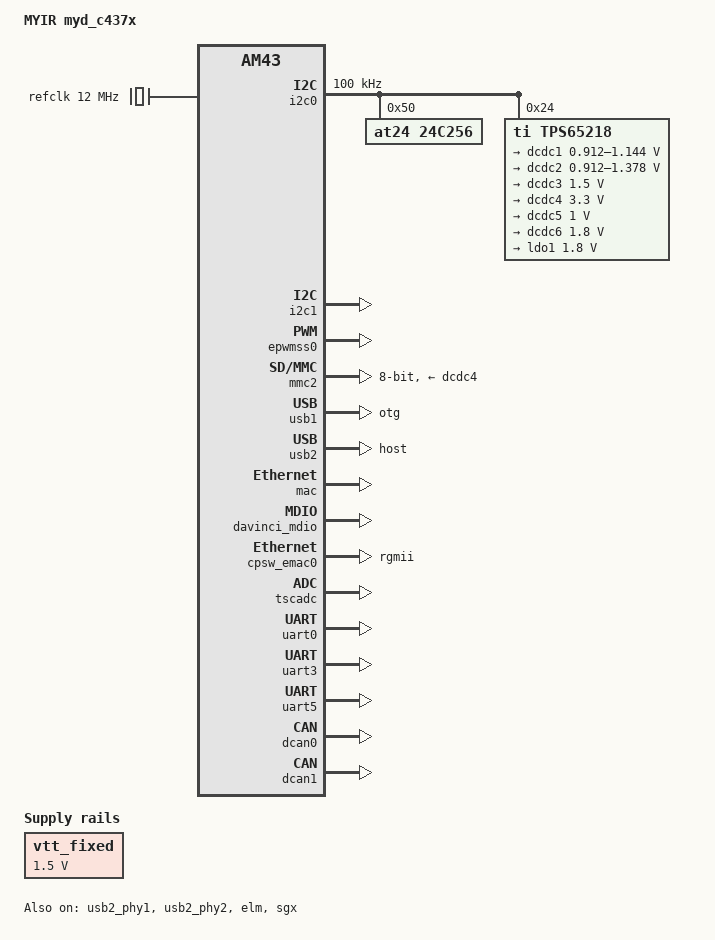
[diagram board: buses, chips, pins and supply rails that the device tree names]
/*
* Copyright (C) 2015 MYIR Tech Limited. - http://www.myirtech.com
*
* This program is free software; you can redistribute it and/or modify
* it under the terms of the GNU General Public License version 2 as
* published by the Free Software Foundation.
*/

/* MYIR myd_c437x */

/dts-v1/;

#include "am4372.dtsi"
#include <dt-bindings/pinctrl/am43xx.h>
/*#include <dt-bindings/pwm/pwm.h> */
#include <dt-bindings/gpio/gpio.h>
#include <dt-bindings/input/input.h>

/ {
	model = "MYIR myd_c437x";
	compatible = "myir,myd_c437x","ti,am4372","ti,am43";

	vtt_fixed: fixedregulator-vtt {
		compatible = "regulator-fixed";
		regulator-name = "vtt_fixed";
		regulator-min-microvolt = <1500000>;
		regulator-max-microvolt = <1500000>;
		regulator-always-on;
		regulator-boot-on;
		enable-active-high;
//		gpio = <&gpio5 7 GPIO_ACTIVE_HIGH>;
	};

	/* fixed 12MHz oscillator */
	refclk: oscillator {
		#clock-cells = <0>;
		compatible = "fixed-clock";
		clock-frequency = <12000000>;
	};

};

&am43xx_pinmux {
	pinctrl-names = "default", "sleep";
	pinctrl-0 = <&clkout_pins  &unused_pins_default>;
	pinctrl-1 = <&unused_pins_sleep>;

        clkout_pins: pinmux_clkout_pins {
                pinctrl-single,pins = <
               0x274 (PIN_OUTPUT_PULLUP | MUX_MODE3)    /* xdma_event_intr1.clkout2 */
			/* 0x270 (PIN_OUTPUT_PULLUP | MUX_MODE3) */ /* xdma_event_intr0.clkout1 mode 3*/
                >;
        };

	i2c0_pins_default: i2c0_pins_default {
		pinctrl-single,pins = <
			0x188 (PIN_INPUT | SLEWCTRL_FAST | MUX_MODE0) /* i2c0_sda.i2c0_sda */
			0x18c (PIN_INPUT | SLEWCTRL_FAST | MUX_MODE0) /* i2c0_scl.i2c0_scl */
		>;
	};

	i2c0_pins_sleep: i2c0_pins_sleep {
		pinctrl-single,pins = <
			0x188 (PIN_INPUT_PULLDOWN | MUX_MODE7)
			0x18c (PIN_INPUT_PULLDOWN | MUX_MODE7)
		>;
	};

	i2c1_pins_default: i2c1_pins_default {
		pinctrl-single,pins = <
			0x240 ( PIN_INPUT_PULLUP | SLEWCTRL_FAST | MUX_MODE1 ) /* (G20) gpio5_10.I2C1_SCL */
			0x248 ( PIN_INPUT_PULLUP | SLEWCTRL_FAST | MUX_MODE1 ) /* (E25) gpio5_12.I2C1_SDA */
		>;
	};

	i2c1_pins_sleep: i2c1_pins_sleep {
		pinctrl-single,pins = <
			0x240 (PIN_INPUT_PULLUP | MUX_MODE7)
			0x248 (PIN_INPUT_PULLUP | MUX_MODE7)
		>;
	};

	emmc_pins_default: emmc_pins_default {
		pinctrl-single,pins = <
			0x80 ( PIN_INPUT_PULLUP | MUX_MODE2 ) /* (B9) gpmc_csn1.mmc1_clk */
			0x84 ( PIN_INPUT_PULLUP | MUX_MODE2 ) /* (F10) gpmc_csn2.mmc1_cmd */
			0x20 ( PIN_INPUT_PULLUP | MUX_MODE2 ) /* (B10) gpmc_ad8.mmc1_dat0 */
			0x24 ( PIN_INPUT_PULLUP | MUX_MODE2 ) /* (A10) gpmc_ad9.mmc1_dat1 */
			0x28 ( PIN_INPUT_PULLUP | MUX_MODE2 ) /* (F11) gpmc_ad10.mmc1_dat2 */
			0x2c ( PIN_INPUT_PULLUP | MUX_MODE2 ) /* (D11) gpmc_ad11.mmc1_dat3 */
			0x30 ( PIN_INPUT_PULLUP | MUX_MODE2 ) /* (E11) gpmc_ad12.mmc1_dat4 */
			0x34 ( PIN_INPUT_PULLUP | MUX_MODE2 ) /* (C11) gpmc_ad13.mmc1_dat5 */
			0x38 ( PIN_INPUT_PULLUP | MUX_MODE2 ) /* (B11) gpmc_ad14.mmc1_dat6 */
			0x3c ( PIN_INPUT_PULLUP | MUX_MODE2 ) /* (A11) gpmc_ad15.mmc1_dat7 */
		>;
	};

	emmc_pins_sleep: emmc_pins_sleep {
		pinctrl-single,pins = <
			0x80 (PIN_INPUT_PULLDOWN | MUX_MODE7) /* (B9) gpmc_csn1.mmc1_clk */
			0x84 (PIN_INPUT_PULLDOWN | MUX_MODE7) /* (F10) gpmc_csn2.mmc1_cmd */
			0x20 (PIN_INPUT_PULLDOWN | MUX_MODE7) /* (B10) gpmc_ad8.mmc1_dat0 */
			0x24 (PIN_INPUT_PULLDOWN | MUX_MODE7) /* (A10) gpmc_ad9.mmc1_dat1 */
			0x28 (PIN_INPUT_PULLDOWN | MUX_MODE7) /* (F11) gpmc_ad10.mmc1_dat2 */
			0x2c (PIN_INPUT_PULLDOWN | MUX_MODE7) /* (D11) gpmc_ad11.mmc1_dat3 */
			0x30 (PIN_INPUT_PULLDOWN | MUX_MODE7) /* (E11) gpmc_ad12.mmc1_dat4 */
			0x34 (PIN_INPUT_PULLDOWN | MUX_MODE7) /* (C11) gpmc_ad13.mmc1_dat5 */
			0x38 (PIN_INPUT_PULLDOWN | MUX_MODE7) /* (B11) gpmc_ad14.mmc1_dat6 */
			0x3c (PIN_INPUT_PULLDOWN | MUX_MODE7) /* (A11) gpmc_ad15.mmc1_dat7 */
		>;
	};

	cpsw_default: cpsw_default {
		pinctrl-single,pins = <
			/* Slave 1 */
			0x114 (PIN_OUTPUT_PULLDOWN | MUX_MODE2)	/* mii1_txen.rgmii1_txen */
			0x118 (PIN_INPUT_PULLDOWN | MUX_MODE2)	/* mii1_rxdv.rgmii1_rxctl */
			0x11c (PIN_OUTPUT_PULLDOWN | MUX_MODE2)	/* mii1_txd1.rgmii1_txd3 */
			0x120 (PIN_OUTPUT_PULLDOWN | MUX_MODE2)	/* mii1_txd0.rgmii1_txd2 */
			0x124 (PIN_OUTPUT_PULLDOWN | MUX_MODE2)	/* mii1_txd1.rgmii1_txd1 */
			0x128 (PIN_OUTPUT_PULLDOWN | MUX_MODE2)	/* mii1_txd0.rgmii1_txd0 */
			0x12c (PIN_OUTPUT_PULLDOWN | MUX_MODE2)	/* mii1_txclk.rmii1_tclk */
			0x130 (PIN_INPUT_PULLDOWN | MUX_MODE2)	/* mii1_rxclk.rmii1_rclk */
			0x134 (PIN_INPUT_PULLDOWN | MUX_MODE2)	/* mii1_rxd1.rgmii1_rxd3 */
			0x138 (PIN_INPUT_PULLDOWN | MUX_MODE2)	/* mii1_rxd0.rgmii1_rxd2 */
			0x13c (PIN_INPUT_PULLDOWN | MUX_MODE2)	/* mii1_rxd1.rgmii1_rxd1 */
			0x140 (PIN_INPUT_PULLDOWN | MUX_MODE2)	/* mii1_rxd0.rgmii1_rxd0 */

			/* Slave 2 */
			0x58 (PIN_OUTPUT_PULLDOWN | MUX_MODE2)	/* gpmc_a6.rgmii2_tclk */
			0x40 (PIN_OUTPUT_PULLDOWN | MUX_MODE2)	/* gpmc_a0.rgmii2_tctl */
			0x54 (PIN_OUTPUT_PULLDOWN | MUX_MODE2)	/* gpmc_a5.rgmii2_td0 */
			0x50 (PIN_OUTPUT_PULLDOWN | MUX_MODE2)	/* gpmc_a4.rgmii2_td1 */
			0x4c (PIN_OUTPUT_PULLDOWN | MUX_MODE2)	/* gpmc_a3.rgmii2_td2 */
			0x48 (PIN_OUTPUT_PULLDOWN | MUX_MODE2)	/* gpmc_a2.rgmii2_td3 */
			0x5c (PIN_INPUT_PULLDOWN | MUX_MODE2)	/* gpmc_a7.rgmii2_rclk */
			0x44 (PIN_INPUT_PULLDOWN | MUX_MODE2)	/* gpmc_a1.rgmii2_rtcl */
			0x6c (PIN_INPUT_PULLDOWN | MUX_MODE2)	/* gpmc_a11.rgmii2_rd0 */
			0x68 (PIN_INPUT_PULLDOWN | MUX_MODE2)	/* gpmc_a10.rgmii2_rd1 */
			0x64 (PIN_INPUT_PULLDOWN | MUX_MODE2)	/* gpmc_a9.rgmii2_rd2 */
			0x60 (PIN_INPUT_PULLDOWN | MUX_MODE2)	/* gpmc_a8.rgmii2_rd3 */
		>;
	};

	cpsw_sleep: cpsw_sleep {
		pinctrl-single,pins = <
			/* Slave 1 reset value */
			0x114 (PIN_INPUT_PULLDOWN | MUX_MODE7)
			0x118 (PIN_INPUT_PULLDOWN | MUX_MODE7)
			0x11c (PIN_INPUT_PULLDOWN | MUX_MODE7)
			0x120 (PIN_INPUT_PULLDOWN | MUX_MODE7)
			0x124 (PIN_INPUT_PULLDOWN | MUX_MODE7)
			0x128 (PIN_INPUT_PULLDOWN | MUX_MODE7)
			0x12c (PIN_INPUT_PULLDOWN | MUX_MODE7)
			0x130 (PIN_INPUT_PULLDOWN | MUX_MODE7)
			0x134 (PIN_INPUT | PULL_DISABLE | MUX_MODE7)
			0x138 (PIN_INPUT | PULL_DISABLE | MUX_MODE7)
			0x13c (PIN_INPUT | PULL_DISABLE | MUX_MODE7)
			0x140 (PIN_INPUT | PULL_DISABLE | MUX_MODE7)

			/* Slave 2 reset value */
			0x58 (PIN_INPUT_PULLDOWN | MUX_MODE7)
			0x40 (PIN_INPUT_PULLDOWN | MUX_MODE7)
			0x54 (PIN_INPUT_PULLDOWN | MUX_MODE7)
			0x50 (PIN_INPUT_PULLDOWN | MUX_MODE7)
			0x4c (PIN_INPUT_PULLDOWN | MUX_MODE7)
			0x48 (PIN_INPUT_PULLDOWN | MUX_MODE7)
			0x5c (PIN_INPUT_PULLDOWN | MUX_MODE7)
			0x44 (PIN_INPUT_PULLDOWN | MUX_MODE7)
			0x6c (PIN_INPUT_PULLDOWN | MUX_MODE7)
			0x68 (PIN_INPUT_PULLDOWN | MUX_MODE7)
			0x64 (PIN_INPUT_PULLDOWN | MUX_MODE7)
			0x60 (PIN_INPUT_PULLDOWN | MUX_MODE7)
		>;
	};

	davinci_mdio_default: davinci_mdio_default {
		pinctrl-single,pins = <
			/* MDIO */
			0x148 (PIN_INPUT_PULLUP | SLEWCTRL_FAST | MUX_MODE0)	/* mdio_data.mdio_data */
			0x14c (PIN_OUTPUT_PULLUP | MUX_MODE0)			/* mdio_clk.mdio_clk */
		>;
	};

	davinci_mdio_sleep: davinci_mdio_sleep {
		pinctrl-single,pins = <
			/* MDIO reset value */
			0x148 (PIN_INPUT | PULL_DISABLE | MUX_MODE7)
			0x14c (PIN_INPUT | PULL_DISABLE | MUX_MODE7)
		>;
	};


	dcan0_default: dcan0_default_pins {
		pinctrl-single,pins = <
			0x178 (PIN_OUTPUT | MUX_MODE2)		/* uart1_ctsn.d_can0_tx */
			0x17c (PIN_INPUT_PULLUP | MUX_MODE2)	/* uart1_rtsn.d_can0_rx */
		>;
	};

	dcan0_sleep: dcan0_sleep_pins {
		pinctrl-single,pins = <
			0x178 (PIN_INPUT_PULLUP | MUX_MODE7)	/* uart1_ctsn.gpio0_12 */
			0x17c (PIN_INPUT_PULLUP | MUX_MODE7)	/* uart1_rtsn.gpio0_13 */
		>;
	};

	dcan1_default: dcan1_default_pins {
		pinctrl-single,pins = <
			0x180 (PIN_OUTPUT | MUX_MODE2)		/* uart1_rxd.d_can1_tx */
			0x184 (PIN_INPUT_PULLUP | MUX_MODE2)	/* uart1_txd.d_can1_rx */
		>;
	};

	dcan1_sleep: dcan1_sleep_pins {
		pinctrl-single,pins = <
			0x180 (PIN_INPUT_PULLUP | MUX_MODE7)	/* uart1_rxd.gpio0_14 */
			0x184 (PIN_INPUT_PULLUP | MUX_MODE7)	/* uart1_txd.gpio0_15 */
		>;
	};

	uart0_pins_default: uart0_pins_default {
		pinctrl-single,pins = <
			0x168 (DS0_PULL_UP_DOWN_EN | INPUT_EN | MUX_MODE0)
			0x16C (DS0_PULL_UP_DOWN_EN | INPUT_EN | MUX_MODE0)
			0x170 (PIN_INPUT_PULLUP | SLEWCTRL_FAST | DS0_PULL_UP_DOWN_EN | MUX_MODE0) /* uart0_rxd.uart0_rxd */
			0x174 (PIN_INPUT | PULL_DISABLE | SLEWCTRL_FAST | DS0_PULL_UP_DOWN_EN | MUX_MODE0) /* uart0_txd.uart0_txd */
		>;
	};
	
	uart0_pins_sleep: uart0_pins_sleep {
		pinctrl-single,pins = <
			0x168 (DS0_PULL_UP_DOWN_EN | INPUT_EN | MUX_MODE7)
			0x16C (DS0_PULL_UP_DOWN_EN | INPUT_EN | MUX_MODE7)
			0x170 (PIN_INPUT_PULLUP | SLEWCTRL_FAST | DS0_PULL_UP_DOWN_EN | MUX_MODE0) /* uart0_rxd.uart0_rxd */
			0x174 (PIN_INPUT_PULLDOWN | SLEWCTRL_FAST | DS0_PULL_UP_DOWN_EN | MUX_MODE0) /* uart0_txd.uart0_txd */
		>;
	};

	uart3_pins_default: uart3_pins_default {
		pinctrl-single,pins = <
			0x228 ( PIN_INPUT_PULLUP | MUX_MODE0 ) /* (H25) uart3_rxd.uart3_rxd */
			0x22c ( PIN_OUTPUT_PULLDOWN | MUX_MODE0 ) /* (H24) uart3_txd.uart3_txd */
			0x230 ( PIN_INPUT_PULLUP | MUX_MODE0 ) /* (H22) uart3_ctsn.uart3_ctsn */
			0x234 ( PIN_OUTPUT_PULLDOWN | MUX_MODE0 ) /* (K24) uart3_rtsn.uart3_rtsn */
		>;
	};

	/* Optional sleep pin settings. Must manually enter values in the below skeleton. */
	uart3_pins_sleep: uart3_pins_sleep {
		pinctrl-single,pins = <
			0x228 (PIN_INPUT_PULLUP | MUX_MODE7 ) /* (H25) uart3_rxd.uart3_rxd */
			0x22c (PIN_INPUT_PULLUP | MUX_MODE7 ) /* (H24) uart3_txd.uart3_txd */
			0x230 (PIN_INPUT_PULLUP | MUX_MODE7 ) /* (H22) uart3_ctsn.uart3_ctsn */
			0x234 (PIN_INPUT_PULLUP | MUX_MODE7 ) /* (K24) uart3_rtsn.uart3_rtsn */
		>;
	};
	
	uart5_pins_default: uart5_pins_default {
		pinctrl-single,pins = <
			0x110 ( PIN_OUTPUT | MUX_MODE7 ) /* (B13) mii1_rx_er.gpio3[2] */
			0x108 ( PIN_INPUT_PULLUP | MUX_MODE3 ) /* (D16) mii1_col.uart5_rxd */
			0x144 ( PIN_OUTPUT_PULLDOWN | MUX_MODE3 ) /* (A16) rmii1_ref_clk.uart5_txd */
		>;
	};
/* Optional sleep pin settings. Must manually enter values in the below skeleton. */
	uart5_pins_sleep: uart5_pins_sleep {
		pinctrl-single,pins = <
			0x110 (PIN_INPUT_PULLUP | MUX_MODE7 ) /* (B13) mii1_rx_er.gpio3[2] */
			0x108 (PIN_INPUT_PULLUP | MUX_MODE7 ) /* (D16) mii1_col.uart5_rxd */
			0x144 (PIN_INPUT_PULLUP | MUX_MODE7 ) /* (A16) mii1_rx_dv.uart5_txd */
		>;
	};

	spi0_pins_default: spi0_pins_default {
		pinctrl-single,pins = <
			0x150 ( PIN_INPUT | MUX_MODE0 ) /* (P23) spi0_sclk.spi0_sclk */
			0x154 ( PIN_INPUT | MUX_MODE0 ) /* (T22) spi0_d0.spi0_d0 */
			0x158 ( PIN_INPUT | MUX_MODE0 ) /* (T21) spi0_d1.spi0_d1 */
			0x15c ( PIN_OUTPUT | MUX_MODE0 ) /* (T20) spi0_cs0.spi0_cs0 */
		>;
	};

	/* Optional sleep pin settings. Must manually enter values in the below skeleton. */
	spi0_pins_sleep: spi0_pins_sleep {
		pinctrl-single,pins = <
			0x150 (PIN_INPUT_PULLUP | MUX_MODE7 ) /* (P23) spi0_sclk.spi0_sclk */
			0x154 (PIN_INPUT_PULLUP | MUX_MODE7 ) /* (T22) spi0_d0.spi0_d0 */
			0x158 (PIN_INPUT_PULLUP | MUX_MODE7 ) /* (T21) spi0_d1.spi0_d1 */
			0x15c (PIN_INPUT_PULLUP | MUX_MODE7 ) /* (T20) spi0_cs0.spi0_cs0 */
		>;
	};
	
	spi4_pins_default: spi4_pins_default {
		pinctrl-single,pins = <
			0x250 ( PIN_INPUT | MUX_MODE0 ) /* (P25) spi4_sclk.spi4_sclk */
			0x254 ( PIN_INPUT | MUX_MODE0 ) /* (R24) spi4_d0.spi4_d0 */
			0x258 ( PIN_INPUT | MUX_MODE0 ) /* (P24) spi4_d1.spi4_d1 */
			0x25c ( PIN_OUTPUT | MUX_MODE0 ) /* (N25) spi4_cs0.spi4_cs0 */
		>;
	};

	/* Optional sleep pin settings. Must manually enter values in the below skeleton. */
	spi4_pins_sleep: spi4_pins_sleep {
		pinctrl-single,pins = <
			0x250 (PIN_INPUT_PULLUP | MUX_MODE7  ) /* (P25) spi4_sclk.spi4_sclk */
			0x254 (PIN_INPUT_PULLUP | MUX_MODE7  ) /* (R24) spi4_d0.spi4_d0 */
			0x258 (PIN_INPUT_PULLUP | MUX_MODE7  ) /* (P24) spi4_d1.spi4_d1 */
			0x25c (PIN_INPUT_PULLUP | MUX_MODE7  ) /* (N25) spi4_cs0.spi4_cs0 */
		>;
	};

    	unused_pins_default: pinmux_unused_pins_default {
		pinctrl-single,pins = <
			0x23c ( PIN_INPUT_PULLDOWN | MUX_MODE7)  // GPIO5_9
			0x270 ( PIN_INPUT_PULLUP | MUX_MODE7 ) /* (D24) xdma_event_intr0.gpio0[19] */
			>;
        };

	unused_pins_sleep: pinmux_unused_pins_sleep {
		pinctrl-single,pins = <
			0x23c ( PIN_INPUT_PULLDOWN | MUX_MODE7)
			0x270 ( PIN_INPUT_PULLDOWN | MUX_MODE7 ) /* (D24) xdma_event_intr0.gpio0[19] */
			>;
        };

	usb1_pins_default: usb1_pins_default {
		pinctrl-single,pins = <
			0x2c0 (DS0_PULL_UP_DOWN_EN | PIN_INPUT_PULLDOWN | MUX_MODE0)
		>;
	};

	usb1_pins_sleep: usb1_pins_sleep {
		pinctrl-single,pins = <
			0x2c0 (DS0_PULL_UP_DOWN_EN | PIN_INPUT_PULLDOWN | MUX_MODE7)
		>;
	};

	usb2_pins_default: usb2_pins_default {
		pinctrl-single,pins = <
			0x2c4 (DS0_PULL_UP_DOWN_EN | PIN_INPUT_PULLDOWN | MUX_MODE0)
		>;
	};

	usb2_pins_sleep: usb2_pins_sleep {
		pinctrl-single,pins = <
			0x2c4 (DS0_PULL_UP_DOWN_EN | PIN_INPUT_PULLDOWN | MUX_MODE7)
		>;
	};
};

&i2c0 {
	status = "okay";
	pinctrl-names = "default", "sleep";
	pinctrl-0 = <&i2c0_pins_default>;
	pinctrl-1 = <&i2c0_pins_sleep>;
	clock-frequency = <100000>;

	at24@50 {
		compatible = "at24,24c256";
		pagesize = <64>;
		reg = <0x50>;
		};
		
	tps65218: tps65218@24 {
		reg = <0x24>;
		compatible = "ti,tps65218";
		interrupts = <GIC_SPI 7 IRQ_TYPE_LEVEL_HIGH>;
		interrupt-controller;
		#interrupt-cells = <2>;

		dcdc1: regulator-dcdc1 {
			compatible = "ti,tps65218-dcdc1";
			/* VDD_CORE limits min of OPP50 and max of OPP100 */
			regulator-name = "vdd_core";
			regulator-min-microvolt = <912000>;
			regulator-max-microvolt = <1144000>;
			regulator-boot-on;
			regulator-always-on;
		};

		dcdc2: regulator-dcdc2 {
			compatible = "ti,tps65218-dcdc2";
			/* VDD_MPU limits min of OPP50 and max of OPP_NITRO */
			regulator-name = "vdd_mpu";
			regulator-min-microvolt = <912000>;
			regulator-max-microvolt = <1378000>;
			regulator-boot-on;
			regulator-always-on;
		};

		dcdc3: regulator-dcdc3 {
			compatible = "ti,tps65218-dcdc3";
			regulator-name = "vdds_ddr";
			regulator-min-microvolt = <1500000>;
			regulator-max-microvolt = <1500000>;
			regulator-boot-on;
			regulator-always-on;
			regulator-state-mem {
				regulator-on-in-suspend;
			};
			regulator-state-disk {
				regulator-off-in-suspend;
			};
		};

		dcdc4: regulator-dcdc4 {
			compatible = "ti,tps65218-dcdc4";
			regulator-name = "v3_3d";
			regulator-min-microvolt = <3300000>;
			regulator-max-microvolt = <3300000>;
			regulator-boot-on;
			regulator-always-on;
		};

		dcdc5: regulator-dcdc5 {
			compatible = "ti,tps65218-dcdc5";
			regulator-name = "v1_0bat";
			regulator-min-microvolt = <1000000>;
			regulator-max-microvolt = <1000000>;
			regulator-boot-on;
			regulator-always-on;
			regulator-state-mem {
				regulator-on-in-suspend;
			};
		};

		dcdc6: regulator-dcdc6 {
			compatible = "ti,tps65218-dcdc6";
			regulator-name = "v1_8bat";
			regulator-min-microvolt = <1800000>;
			regulator-max-microvolt = <1800000>;
			regulator-boot-on;
			regulator-always-on;
			regulator-state-mem {
				regulator-on-in-suspend;
			};
		};

		ldo1: regulator-ldo1 {
			compatible = "ti,tps65218-ldo1";
			regulator-name = "v1_8d";
			regulator-min-microvolt = <1800000>;
			regulator-max-microvolt = <1800000>;
			regulator-boot-on;
			regulator-always-on;
		};

		power-button {
			compatible = "ti,tps65218-pwrbutton";
			status = "okay";
			interrupts = <3 IRQ_TYPE_EDGE_BOTH>;
		};
	};

};

&i2c1 {
	status = "okay";
	pinctrl-names = "default", "sleep";
	pinctrl-0 = <&i2c1_pins_default>;
	pinctrl-1 = <&i2c1_pins_sleep>;

};

&clkout2_ck {
	status = "okay";
};

&clkout2_src_mux_ck {
	status="okay";
	assigned-clocks = <&clkout2_src_mux_ck>;
	assigned-clock-parents = <&dpll_per_m2_ck>;
};

&clkout2_src_post_div_ck {
	status = "okay";
	assigned-clocks = <&clkout2_src_post_div_ck>;
	assigned-clock-rates = <24000000>;
};
	

&epwmss0 {
	status = "okay";
};


&gpio0 {
	status = "okay";
};

&gpio1 {
	status = "okay";
};

&gpio2 {
	status = "okay";
};

&gpio3 {
	status = "okay";
};

&gpio4 {
	status = "okay";
};

&gpio5 {
	status = "okay";
};

/* eMMC sits on mmc2 */
&mmc2 {
	/*
	 * When enabling eMMC, disable GPMC/NAND and set
	 * SelEMMCorNAND to output-high
	 */
	status = "okay";
	vmmc-supply = <&dcdc4>;
	bus-width = <8>;
	pinctrl-names = "default", "sleep";
	pinctrl-0 = <&emmc_pins_default>;
	pinctrl-1 = <&emmc_pins_sleep>;
	ti,non-removable;
};

&usb2_phy1 {
	status = "okay";
};

&usb1 {
	dr_mode = "otg";
	status = "okay";
	pinctrl-names = "default", "sleep";
	pinctrl-0 = <&usb1_pins_default>;
	pinctrl-1 = <&usb1_pins_sleep>;
};

&usb2_phy2 {
	status = "okay";
};

&usb2 {
	dr_mode = "host";
	status = "okay";
	pinctrl-names = "default", "sleep";
	pinctrl-0 = <&usb2_pins_default>;
	pinctrl-1 = <&usb2_pins_sleep>;
};

&mac {
	pinctrl-names = "default", "sleep";
	pinctrl-0 = <&cpsw_default>;
	pinctrl-1 = <&cpsw_sleep>;
	dual_emac = <1>;
	status = "okay";
};

&davinci_mdio {
	pinctrl-names = "default", "sleep";
	pinctrl-0 = <&davinci_mdio_default>;
	pinctrl-1 = <&davinci_mdio_sleep>;
	status = "okay";
};

&cpsw_emac0 {
	phy_id = <&davinci_mdio>, <4>;
	phy-mode = "rgmii";
	dual_emac_res_vlan = <1>;
};

&elm {
	status = "okay";
};


&tscadc {
      status = "okay";
      adc {
          ti,adc-channels = <7>;
        };
};
/*
&adc1 {
	status = "okay";
	ti,adc-channels = <0 1 2 3 4 5 6 7>;
};
*/

&cpu {
	cpu0-supply = <&dcdc2>;
};

&cpu0_opp_table {
	/*
	 * Supply voltage supervisor on board will not allow opp50 so
	 * disable it and set opp100 as suspend OPP.
	 */
	opp50@300000000 {
		status = "disabled";
	};

	opp100@600000000 {
		opp-suspend;
	};
};

&uart0 {
	status = "okay";
	pinctrl-names = "default", "sleep";
	pinctrl-0 = <&uart0_pins_default>;
	pinctrl-1 = <&uart0_pins_sleep>;
};

&uart3 {
	status = "okay";
	pinctrl-names = "default", "sleep";
	pinctrl-0 = <&uart3_pins_default>;
	pinctrl-1 = <&uart3_pins_sleep>;
};

&uart5 {
	status = "okay";
	pinctrl-names = "default", "sleep";
	pinctrl-0 = <&uart5_pins_default>;
	pinctrl-1 = <&uart5_pins_sleep>;
	rts-gpio = <&gpio3 2 GPIO_ACTIVE_HIGH>;
	rs485-rts-active-high;
	rs485-rx-during-tx="false";
	rs485-rts-delay = <1 1>;
	linux,rs485-enabled-at-boot-time;
};

&dcan0 {
	pinctrl-names = "default", "sleep";
	pinctrl-0 = <&dcan0_default>;
	pinctrl-1 = <&dcan0_sleep>;
	status = "okay";
};

&dcan1 {
	pinctrl-names = "default", "sleep";
	pinctrl-0 = <&dcan1_default>;
	pinctrl-1 = <&dcan1_sleep>;
	status = "okay";
};

&wkup_m3_ipc {
	ti,set-io-isolation;
	ti,scale-data-fw = "am43x-evm-scale-data.bin";
};

&sgx {
	status = "okay";
};
